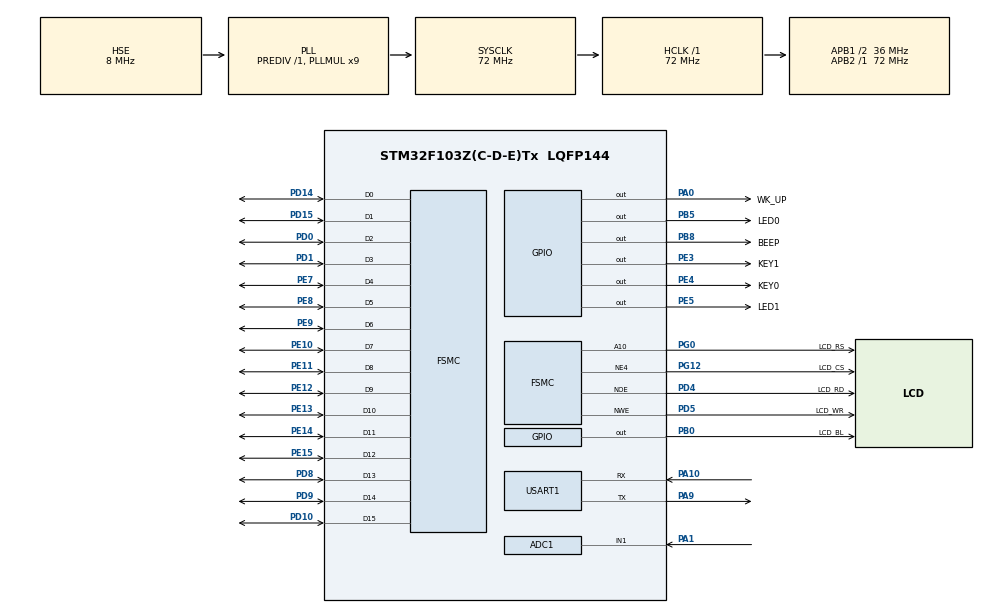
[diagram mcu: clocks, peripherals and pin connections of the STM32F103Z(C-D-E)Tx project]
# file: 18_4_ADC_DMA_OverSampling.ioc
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ADC1.Channel-0\#ChannelRegularConversion=ADC_CHANNEL_1
ADC1.ContinuousConvMode=ENABLE
ADC1.NbrOfConversionFlag=1
ADC1.Rank-0\#ChannelRegularConversion=1
ADC1.SamplingTime-0\#ChannelRegularConversion=ADC_SAMPLETIME_1CYCLE_5
ADC1.master=1
Dma.ADC1.0.Direction=DMA_PERIPH_TO_MEMORY
Dma.ADC1.0.Instance=DMA1_Channel1
Dma.ADC1.0.MemDataAlignment=DMA_MDATAALIGN_HALFWORD
Dma.ADC1.0.MemInc=DMA_MINC_ENABLE
Dma.ADC1.0.Mode=DMA_NORMAL
Dma.ADC1.0.PeriphDataAlignment=DMA_PDATAALIGN_HALFWORD
Dma.ADC1.0.PeriphInc=DMA_PINC_DISABLE
Dma.ADC1.0.Priority=DMA_PRIORITY_MEDIUM
Dma.Request0=ADC1
FSMC.AddressSetupTime1=0
FSMC.BusTurnAroundDuration1=15
FSMC.DataSetupTime1=15
FSMC.ExtendedAddressSetupTime1=0
FSMC.ExtendedDataSetupTime1=1
FSMC.ExtendedMode1=FSMC_EXTENDED_MODE_ENABLE
Mcu.Family=STM32F1
Mcu.Name=STM32F103Z(C-D-E)Tx
Mcu.Package=LQFP144
NVIC.DMA1_Channel1_IRQn=true\:2\:1\:true\:false\:true\:false\:true\:true
NVIC.PriorityGroup=NVIC_PRIORITYGROUP_2
NVIC.USART1_IRQn=true\:2\:2\:true\:false\:true\:true\:true\:true
OSC_IN.Mode=HSE-External-Oscillator
OSC_IN.Signal=RCC_OSC_IN
OSC_OUT.Mode=HSE-External-Oscillator
OSC_OUT.Signal=RCC_OSC_OUT
PA0-WKUP.GPIO_Label=WK_UP
PA0-WKUP.GPIO_PuPd=GPIO_PULLDOWN
PA0-WKUP.GPIO_Speed=GPIO_SPEED_FREQ_HIGH
PA0-WKUP.PinState=GPIO_PIN_RESET
PA0-WKUP.Signal=GPIO_Output
PA1.Signal=ADCx_IN1
PA10.Mode=Asynchronous
PA10.Signal=USART1_RX
PA13.Mode=Serial_Wire
PA13.Signal=SYS_JTMS-SWDIO
PA14.Mode=Serial_Wire
PA14.Signal=SYS_JTCK-SWCLK
PA9.Mode=Asynchronous
PA9.Signal=USART1_TX
PB0.GPIO_Label=LCD_BL
PB0.GPIO_PuPd=GPIO_PULLUP
PB0.GPIO_Speed=GPIO_SPEED_FREQ_HIGH
PB0.PinState=GPIO_PIN_SET
PB0.Signal=GPIO_Output
PB5.GPIO_Label=LED0
PB5.GPIO_PuPd=GPIO_PULLUP
PB5.GPIO_Speed=GPIO_SPEED_FREQ_HIGH
PB5.PinState=GPIO_PIN_SET
PB5.Signal=GPIO_Output
PB8.GPIO_Label=BEEP
PB8.GPIO_ModeDefaultOutputPP=GPIO_MODE_OUTPUT_PP
PB8.GPIO_PuPd=GPIO_PULLDOWN
PB8.GPIO_Speed=GPIO_SPEED_FREQ_HIGH
PB8.PinState=GPIO_PIN_RESET
PB8.Signal=GPIO_Output
PC14-OSC32_IN.Mode=LSE-External-Oscillator
PC14-OSC32_IN.Signal=RCC_OSC32_IN
PC15-OSC32_OUT.Mode=LSE-External-Oscillator
PC15-OSC32_OUT.Signal=RCC_OSC32_OUT
PD0.Signal=FSMC_D2_DA2
PD1.Signal=FSMC_D3_DA3
PD10.Signal=FSMC_D15_DA15
PD14.Signal=FSMC_D0_DA0
PD15.Signal=FSMC_D1_DA1
PD4.GPIO_Label=LCD_RD
PD4.Signal=FSMC_NOE
PD5.GPIO_Label=LCD_WR
PD5.Signal=FSMC_NWE
PD8.Signal=FSMC_D13_DA13
PD9.Signal=FSMC_D14_DA14
PE10.Signal=FSMC_D7_DA7
PE11.Signal=FSMC_D8_DA8
PE12.Signal=FSMC_D9_DA9
PE13.Signal=FSMC_D10_DA10
PE14.Signal=FSMC_D11_DA11
PE15.Signal=FSMC_D12_DA12
PE3.GPIO_Label=KEY1
PE3.GPIO_PuPd=GPIO_PULLUP
PE3.GPIO_Speed=GPIO_SPEED_FREQ_HIGH
PE3.PinState=GPIO_PIN_SET
PE3.Signal=GPIO_Output
PE4.GPIO_Label=KEY0
PE4.GPIO_PuPd=GPIO_PULLUP
PE4.GPIO_Speed=GPIO_SPEED_FREQ_HIGH
PE4.PinState=GPIO_PIN_SET
PE4.Signal=GPIO_Output
PE5.GPIO_Label=LED1
PE5.GPIO_PuPd=GPIO_PULLUP
PE5.GPIO_Speed=GPIO_SPEED_FREQ_HIGH
PE5.PinState=GPIO_PIN_SET
PE5.Signal=GPIO_Output
PE7.Signal=FSMC_D4_DA4
PE8.Signal=FSMC_D5_DA5
PE9.Signal=FSMC_D6_DA6
PG0.GPIO_Label=LCD_RS
PG0.Signal=FSMC_A10
PG12.GPIO_Label=LCD_CS
PG12.Mode=NorPsramChipSelect4_1
PG12.Signal=FSMC_NE4
ProjectManager.HeapSize=0x200
ProjectManager.StackSize=0x400
ProjectManager.TargetToolchain=STM32CubeIDE
RCC.ADCPresc=RCC_ADCPCLK2_DIV6
RCC.AHBFreq_Value=72000000
RCC.APB1CLKDivider=RCC_HCLK_DIV2
RCC.APB1Freq_Value=36000000
RCC.APB1TimFreq_Value=72000000
RCC.APB2Freq_Value=72000000
RCC.APB2TimFreq_Value=72000000
RCC.HCLKFreq_Value=72000000
RCC.PLLMUL=RCC_PLL_MUL9
RCC.PLLSourceVirtual=RCC_PLLSOURCE_HSE
RCC.SYSCLKFreq_VALUE=72000000
RCC.SYSCLKSource=RCC_SYSCLKSOURCE_PLLCLK
RCC.USBFreq_Value=72000000
SH.ADCx_IN1.0=ADC1_IN1,IN1
SH.FSMC_A10.0=FSMC_A10,A10_1
SH.FSMC_D0_DA0.0=FSMC_D0,16b-d1
SH.FSMC_D10_DA10.0=FSMC_D10,16b-d1
SH.FSMC_D11_DA11.0=FSMC_D11,16b-d1
SH.FSMC_D12_DA12.0=FSMC_D12,16b-d1
SH.FSMC_D13_DA13.0=FSMC_D13,16b-d1
SH.FSMC_D14_DA14.0=FSMC_D14,16b-d1
SH.FSMC_D15_DA15.0=FSMC_D15,16b-d1
SH.FSMC_D1_DA1.0=FSMC_D1,16b-d1
SH.FSMC_D2_DA2.0=FSMC_D2,16b-d1
SH.FSMC_D3_DA3.0=FSMC_D3,16b-d1
SH.FSMC_D4_DA4.0=FSMC_D4,16b-d1
SH.FSMC_D5_DA5.0=FSMC_D5,16b-d1
SH.FSMC_D6_DA6.0=FSMC_D6,16b-d1
SH.FSMC_D7_DA7.0=FSMC_D7,16b-d1
SH.FSMC_D8_DA8.0=FSMC_D8,16b-d1
SH.FSMC_D9_DA9.0=FSMC_D9,16b-d1
SH.FSMC_NOE.0=FSMC_NOE,Lcd1
SH.FSMC_NWE.0=FSMC_NWE,Lcd1
USART1.VirtualMode=VM_ASYNC
board=custom

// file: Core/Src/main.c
/* USER CODE BEGIN Header */

/* USER CODE END Header */
#include "main.h"
#include "adc.h"
#include "dma.h"
#include "usart.h"
#include "gpio.h"
#include "fsmc.h"

/* USER CODE BEGIN Includes */
#include "../../BSP/LED/led.h"
#include "../../BSP/KEY/key.h"
#include "../../BSP/LCD/lcd.h"
#include "../../SYSTEM/delay/delay.h"
/* USER CODE END Includes */

void SystemClock_Config(void);
/* USER CODE BEGIN PFP */
#define ADC_OVERSAMPLE_TIMES    256                         /* ADC过采样次数, 这里提高4bit分辨率, 需要256倍采样 */
#define ADC_DMA_BUF_SIZE        ADC_OVERSAMPLE_TIMES * 10   /* ADC DMA采集 BUF大小, 应等于过采样次数的整数倍 */
uint16_t g_adc_dma_buf[ADC_DMA_BUF_SIZE];   				/* ADC DMA BUF */
extern uint8_t g_adc_dma_sta;               				/* DMA传输状态标志, 0,未完成; 1, 已完成 */
/* USER CODE END PFP */

int main(void)
{
  /* USER CODE BEGIN 1 */
    uint16_t i;
    uint32_t adcx;
    uint32_t sum;
    float temp;
  /* USER CODE END 1 */

  /* MCU Configuration--------------------------------------------------------*/

  /* Reset of all peripherals, Initializes the Flash interface and the Systick. */
  HAL_Init();

  /* Configure the system clock */
  SystemClock_Config();

  /* USER CODE BEGIN SysInit */
  delay_init(72);						   /* 初始化延时函数 */
  /* USER CODE END SysInit */

  /* Initialize all configured peripherals */
  MX_GPIO_Init();
  MX_DMA_Init();
  MX_FSMC_Init();
  MX_USART1_UART_Init();
  MX_ADC1_Init();
  /* USER CODE BEGIN 2 */
  HAL_DMA_Start_IT(&hdma_adc1, (uint32_t)&ADC1->DR, (uint32_t)&g_adc_dma_buf, 0);	/* 启动DMA，并开启中断 */
  HAL_ADC_Start_DMA(&hadc1, (uint32_t*)&g_adc_dma_buf, 0);           	/* 开启ADC，通过DMA传输结果 */

  lcd_init();                                         					/* 初始化LCD */
  lcd_show_string(30,  50, 200, 16, 16, "STM32", RED);
  lcd_show_string(30,  70, 200, 16, 16, "ADC OverSample TEST", RED);
  lcd_show_string(30,  90, 200, 16, 16, "ATOM@ALIENTEK", RED);
  lcd_show_string(30, 110, 200, 16, 16, "ADC1_CH1_VAL:", BLUE);
  lcd_show_string(30, 130, 200, 16, 16, "ADC1_CH1_VOL:0.000V", BLUE); 	/* 先在固定位置显示小数点 */
  adc_dma_enable(ADC_DMA_BUF_SIZE);   /* 启动ADC DMA采集 */
  /* USER CODE END 2 */

  /* Infinite loop */
  /* USER CODE BEGIN WHILE */
  while (1)
  {
	  if (g_adc_dma_sta == 1)
	  {
		  /* 计算DMA 采集到的ADC数据的平均值 */
		  sum = 0;

		  for (i = 0; i < ADC_DMA_BUF_SIZE; i++)   /* 累加 */
		  {
			  sum += g_adc_dma_buf[i];
		  }

		  adcx = sum / (ADC_DMA_BUF_SIZE / ADC_OVERSAMPLE_TIMES); /* 取平均值 */
		  adcx >>= 4; /* 除以2^4倍, 得到12+4位 ADC精度值, 注意: 提高 N bit精度, 需要 >> N */

		  /* 显示结果 */
		  lcd_show_xnum(134, 110, adcx, 5, 16, 0, BLUE);      /* 显示ADCC采样后的原始值 */

		  temp = (float)adcx * (3.3 / 65536);                 /* 获取计算后的带小数的实际电压值，比如3.1111 */
		  adcx = temp;                                        /* 赋值整数部分给adcx变量，因为adcx为u16整形 */
		  lcd_show_xnum(134, 130, adcx, 1, 16, 0, BLUE);      /* 显示电压值的整数部分，3.1111的话，这里就是显示3 */

		  temp -= adcx;                                       /* 把已经显示的整数部分去掉，留下小数部分，比如3.1111-3=0.1111 */
		  temp *= 1000;                                       /* 小数部分乘以1000，例如：0.1111就转换为111.1，相当于保留三位小数。 */
		  lcd_show_xnum(150, 130, temp, 3, 16, 0X80, BLUE);   /* 显示小数部分（前面转换为了整形显示），这里显示的就是111. */

		  g_adc_dma_sta = 0;                                  /* 清除DMA采集完成状态标志 */
		  adc_dma_enable(ADC_DMA_BUF_SIZE);                   /* 启动下一次ADC DMA采集 */
	  }

	  LED0_TOGGLE();
	  delay_ms(100);

    /* USER CODE END WHILE */

  }
}

void SystemClock_Config(void)
{
  RCC_OscInitTypeDef RCC_OscInitStruct = {0};
  RCC_ClkInitTypeDef RCC_ClkInitStruct = {0};
  RCC_PeriphCLKInitTypeDef PeriphClkInit = {0};

  /** Initializes the RCC Oscillators according to the specified parameters
  * in the RCC_OscInitTypeDef structure.
  */
  RCC_OscInitStruct.OscillatorType = RCC_OSCILLATORTYPE_HSE;
  RCC_OscInitStruct.HSEState = RCC_HSE_ON;
  RCC_OscInitStruct.HSEPredivValue = RCC_HSE_PREDIV_DIV1;
  RCC_OscInitStruct.HSIState = RCC_HSI_ON;
  RCC_OscInitStruct.PLL.PLLState = RCC_PLL_ON;
  RCC_OscInitStruct.PLL.PLLSource = RCC_PLLSOURCE_HSE;
  RCC_OscInitStruct.PLL.PLLMUL = RCC_PLL_MUL9;
  if (HAL_RCC_OscConfig(&RCC_OscInitStruct) != HAL_OK)
  {
    Error_Handler();
  }

  /** Initializes the CPU, AHB and APB buses clocks
  */
  RCC_ClkInitStruct.ClockType = RCC_CLOCKTYPE_HCLK|RCC_CLOCKTYPE_SYSCLK
                              |RCC_CLOCKTYPE_PCLK1|RCC_CLOCKTYPE_PCLK2;
  RCC_ClkInitStruct.SYSCLKSource = RCC_SYSCLKSOURCE_PLLCLK;
  RCC_ClkInitStruct.AHBCLKDivider = RCC_SYSCLK_DIV1;
  RCC_ClkInitStruct.APB1CLKDivider = RCC_HCLK_DIV2;
  RCC_ClkInitStruct.APB2CLKDivider = RCC_HCLK_DIV1;

  if (HAL_RCC_ClockConfig(&RCC_ClkInitStruct, FLASH_LATENCY_2) != HAL_OK)
  {
    Error_Handler();
  }
  PeriphClkInit.PeriphClockSelection = RCC_PERIPHCLK_ADC;
  PeriphClkInit.AdcClockSelection = RCC_ADCPCLK2_DIV6;
  if (HAL_RCCEx_PeriphCLKConfig(&PeriphClkInit) != HAL_OK)
  {
    Error_Handler();
  }
}

void Error_Handler(void)
{
  __disable_irq();
  while (1)
  {
  }
}
